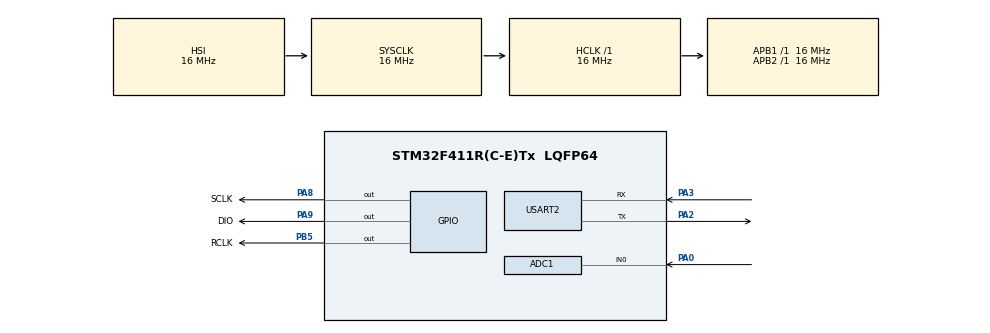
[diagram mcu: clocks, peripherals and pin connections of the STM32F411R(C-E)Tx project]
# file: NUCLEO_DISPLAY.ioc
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ADC1.Channel-0\#ChannelRegularConversion=ADC_CHANNEL_0
ADC1.NbrOfConversionFlag=1
ADC1.Rank-0\#ChannelRegularConversion=1
ADC1.SamplingTime-0\#ChannelRegularConversion=ADC_SAMPLETIME_3CYCLES
ADC1.master=1
Mcu.Family=STM32F4
Mcu.Name=STM32F411R(C-E)Tx
Mcu.Package=LQFP64
NVIC.PriorityGroup=NVIC_PRIORITYGROUP_4
PA0-WKUP.Signal=ADCx_IN0
PA2.Mode=Asynchronous
PA2.Signal=USART2_TX
PA3.Mode=Asynchronous
PA3.Signal=USART2_RX
PA8.GPIO_Label=SCLK
PA8.Signal=GPIO_Output
PA9.GPIO_Label=DIO
PA9.Signal=GPIO_Output
PB5.GPIO_Label=RCLK
PB5.Signal=GPIO_Output
ProjectManager.HeapSize=0x200
ProjectManager.StackSize=0x400
ProjectManager.TargetToolchain=STM32CubeIDE
RCC.AHBFreq_Value=16000000
RCC.APB1Freq_Value=16000000
RCC.APB2Freq_Value=16000000
RCC.CortexFreq_Value=16000000
RCC.HSE_VALUE=25000000
RCC.HSI_VALUE=16000000
RCC.LSE_VALUE=32768
RCC.SYSCLKFreq_VALUE=16000000
RCC.VCOOutputFreq_Value=192000000
SH.ADCx_IN0.0=ADC1_IN0,IN0
USART2.VirtualMode=VM_ASYNC
board=custom

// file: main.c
/* USER CODE BEGIN Header */
/**
  ******************************************************************************
  * @file           : main.c
  * @brief          : Main program body
  ******************************************************************************
  * @attention
  *
  * Copyright (c) 2024 STMicroelectronics.
  * All rights reserved.
  *
  * This software is licensed under terms that can be found in the LICENSE file
  * in the root directory of this software component.
  * If no LICENSE file comes with this software, it is provided AS-IS.
  *
  ******************************************************************************
  */
/* USER CODE END Header */
#include "main.h"

/* USER CODE BEGIN Includes */
#include "stdio.h"
#include "string.h"

/* USER CODE END Includes */

ADC_HandleTypeDef hadc1;

UART_HandleTypeDef huart2;

/* USER CODE BEGIN PV */

uint16_t pot = 0;
char msg[20] = "";

/* USER CODE END PV */

void SystemClock_Config(void);
static void MX_GPIO_Init(void);
static void MX_ADC1_Init(void);
static void MX_USART2_UART_Init(void);

/* USER CODE BEGIN 0 */

static void escribirNUM (uint8_t numero ){
	  uint8_t LED_NUM[] = {
	  	0xC0, //0
	  	0xF9, //1
	  	0xA4, //2
	  	0xB0, //3
	  	0x99, //4
	  	0x92, //5
	  	0x82, //6
	  	0xF8, //7
	  	0x80, //8
	  	0x90, //9
	  	0xBF  //-
	  };
		for(int8_t i=0; i<8; i++){
			  if( LED_NUM[numero] & (0x80 >> i) ){
					HAL_GPIO_WritePin (DIO_GPIO_Port, DIO_Pin, GPIO_PIN_SET);
				  }
				  else{
					HAL_GPIO_WritePin (DIO_GPIO_Port, DIO_Pin, GPIO_PIN_RESET);
				  }

				  HAL_GPIO_WritePin (SCLK_GPIO_Port, SCLK_Pin, GPIO_PIN_SET );
				  HAL_GPIO_WritePin (SCLK_GPIO_Port, SCLK_Pin, GPIO_PIN_RESET );
			  }
  }

static void ponerNUM (uint8_t posicion, uint8_t digito){
uint8_t place[] = {
	  	0x01, //1
	  	0x02, //2
	  	0x04, //3
	  	0x08, //4
	  		  };

escribirNUM (digito);

		for(int8_t j=0; j<8; j++){
			  if( place[posicion] & (0x80 >> j) ){
					HAL_GPIO_WritePin (DIO_GPIO_Port, DIO_Pin, GPIO_PIN_SET);
				  }
				  else{
					HAL_GPIO_WritePin (DIO_GPIO_Port, DIO_Pin, GPIO_PIN_RESET);
				  }

				  HAL_GPIO_WritePin (SCLK_GPIO_Port, SCLK_Pin, GPIO_PIN_SET );
				  HAL_GPIO_WritePin (SCLK_GPIO_Port, SCLK_Pin, GPIO_PIN_RESET );
			  }

		HAL_GPIO_WritePin (RCLK_GPIO_Port, RCLK_Pin, GPIO_PIN_RESET );
		HAL_GPIO_WritePin (RCLK_GPIO_Port, RCLK_Pin, GPIO_PIN_SET );
  }
/* USER CODE END 0 */

int main(void)
{

  /* MCU Configuration--------------------------------------------------------*/

  /* Reset of all peripherals, Initializes the Flash interface and the Systick. */
  HAL_Init();

  /* Configure the system clock */
  SystemClock_Config();

  /* Initialize all configured peripherals */
  MX_GPIO_Init();
  MX_ADC1_Init();
  MX_USART2_UART_Init();
  /* USER CODE BEGIN 2 */

 // uint8_t data[] = { 0xBF };
 // uint8_t data =  LED_NUM[2] ;
 // uint8_t posicion =  0x02 ;

/*
  uint8_t unidad;
  uint8_t decimo;
  uint8_t centesimo;
  uint8_t milesimo;

*/
  /* USER CODE END 2 */

  /* Infinite loop */
  /* USER CODE BEGIN WHILE */
  while (1)
  {

	HAL_ADC_Start(&hadc1);
	HAL_ADC_PollForConversion(&hadc1, 20);	//20 ms timeout
	pot = HAL_ADC_GetValue(&hadc1);				// para hacer la conversion V 3.3V * 4095
	//sprintf(msg, "Pot : %hu \r\n", pot);
	sprintf(msg,"%d \r\n",pot);
	HAL_UART_Transmit(&huart2, (uint8_t *)msg, strlen(msg), HAL_MAX_DELAY);
	HAL_Delay(100);

	for(int8_t i=3; i>=0; i--){
	  ponerNUM (i,pot % 10);	//posicion, numero
	  pot = pot / 10;
	  HAL_Delay(1);
	}

    /* USER CODE END WHILE */

  }
}

void SystemClock_Config(void)
{
  RCC_OscInitTypeDef RCC_OscInitStruct = {0};
  RCC_ClkInitTypeDef RCC_ClkInitStruct = {0};

  /** Configure the main internal regulator output voltage
  */
  __HAL_RCC_PWR_CLK_ENABLE();
  __HAL_PWR_VOLTAGESCALING_CONFIG(PWR_REGULATOR_VOLTAGE_SCALE1);

  /** Initializes the RCC Oscillators according to the specified parameters
  * in the RCC_OscInitTypeDef structure.
  */
  RCC_OscInitStruct.OscillatorType = RCC_OSCILLATORTYPE_HSI;
  RCC_OscInitStruct.HSIState = RCC_HSI_ON;
  RCC_OscInitStruct.HSICalibrationValue = RCC_HSICALIBRATION_DEFAULT;
  RCC_OscInitStruct.PLL.PLLState = RCC_PLL_NONE;
  if (HAL_RCC_OscConfig(&RCC_OscInitStruct) != HAL_OK)
  {
    Error_Handler();
  }

  /** Initializes the CPU, AHB and APB buses clocks
  */
  RCC_ClkInitStruct.ClockType = RCC_CLOCKTYPE_HCLK|RCC_CLOCKTYPE_SYSCLK
                              |RCC_CLOCKTYPE_PCLK1|RCC_CLOCKTYPE_PCLK2;
  RCC_ClkInitStruct.SYSCLKSource = RCC_SYSCLKSOURCE_HSI;
  RCC_ClkInitStruct.AHBCLKDivider = RCC_SYSCLK_DIV1;
  RCC_ClkInitStruct.APB1CLKDivider = RCC_HCLK_DIV1;
  RCC_ClkInitStruct.APB2CLKDivider = RCC_HCLK_DIV1;

  if (HAL_RCC_ClockConfig(&RCC_ClkInitStruct, FLASH_LATENCY_0) != HAL_OK)
  {
    Error_Handler();
  }
}

static void MX_ADC1_Init(void)
{

  ADC_ChannelConfTypeDef sConfig = {0};

  /** Configure the global features of the ADC (Clock, Resolution, Data Alignment and number of conversion)
  */
  hadc1.Instance = ADC1;
  hadc1.Init.ClockPrescaler = ADC_CLOCK_SYNC_PCLK_DIV2;
  hadc1.Init.Resolution = ADC_RESOLUTION_12B;
  hadc1.Init.ScanConvMode = DISABLE;
  hadc1.Init.ContinuousConvMode = DISABLE;
  hadc1.Init.DiscontinuousConvMode = DISABLE;
  hadc1.Init.ExternalTrigConvEdge = ADC_EXTERNALTRIGCONVEDGE_NONE;
  hadc1.Init.ExternalTrigConv = ADC_SOFTWARE_START;
  hadc1.Init.DataAlign = ADC_DATAALIGN_RIGHT;
  hadc1.Init.NbrOfConversion = 1;
  hadc1.Init.DMAContinuousRequests = DISABLE;
  hadc1.Init.EOCSelection = ADC_EOC_SINGLE_CONV;
  if (HAL_ADC_Init(&hadc1) != HAL_OK)
  {
    Error_Handler();
  }

  /** Configure for the selected ADC regular channel its corresponding rank in the sequencer and its sample time.
  */
  sConfig.Channel = ADC_CHANNEL_0;
  sConfig.Rank = 1;
  sConfig.SamplingTime = ADC_SAMPLETIME_3CYCLES;
  if (HAL_ADC_ConfigChannel(&hadc1, &sConfig) != HAL_OK)
  {
    Error_Handler();
  }

}

static void MX_USART2_UART_Init(void)
{

  huart2.Instance = USART2;
  huart2.Init.BaudRate = 115200;
  huart2.Init.WordLength = UART_WORDLENGTH_8B;
  huart2.Init.StopBits = UART_STOPBITS_1;
  huart2.Init.Parity = UART_PARITY_NONE;
  huart2.Init.Mode = UART_MODE_TX_RX;
  huart2.Init.HwFlowCtl = UART_HWCONTROL_NONE;
  huart2.Init.OverSampling = UART_OVERSAMPLING_16;
  if (HAL_UART_Init(&huart2) != HAL_OK)
  {
    Error_Handler();
  }

}

static void MX_GPIO_Init(void)
{
  GPIO_InitTypeDef GPIO_InitStruct = {0};

  /* GPIO Ports Clock Enable */
  __HAL_RCC_GPIOA_CLK_ENABLE();
  __HAL_RCC_GPIOB_CLK_ENABLE();

  /*Configure GPIO pin Output Level */
  HAL_GPIO_WritePin(GPIOA, SCLK_Pin|DIO_Pin, GPIO_PIN_RESET);

  /*Configure GPIO pin Output Level */
  HAL_GPIO_WritePin(RCLK_GPIO_Port, RCLK_Pin, GPIO_PIN_RESET);

  /*Configure GPIO pins : SCLK_Pin DIO_Pin */
  GPIO_InitStruct.Pin = SCLK_Pin|DIO_Pin;
  GPIO_InitStruct.Mode = GPIO_MODE_OUTPUT_PP;
  GPIO_InitStruct.Pull = GPIO_NOPULL;
  GPIO_InitStruct.Speed = GPIO_SPEED_FREQ_LOW;
  HAL_GPIO_Init(GPIOA, &GPIO_InitStruct);

  /*Configure GPIO pin : RCLK_Pin */
  GPIO_InitStruct.Pin = RCLK_Pin;
  GPIO_InitStruct.Mode = GPIO_MODE_OUTPUT_PP;
  GPIO_InitStruct.Pull = GPIO_NOPULL;
  GPIO_InitStruct.Speed = GPIO_SPEED_FREQ_LOW;
  HAL_GPIO_Init(RCLK_GPIO_Port, &GPIO_InitStruct);

}

void Error_Handler(void)
{
  __disable_irq();
  while (1)
  {
  }
}
